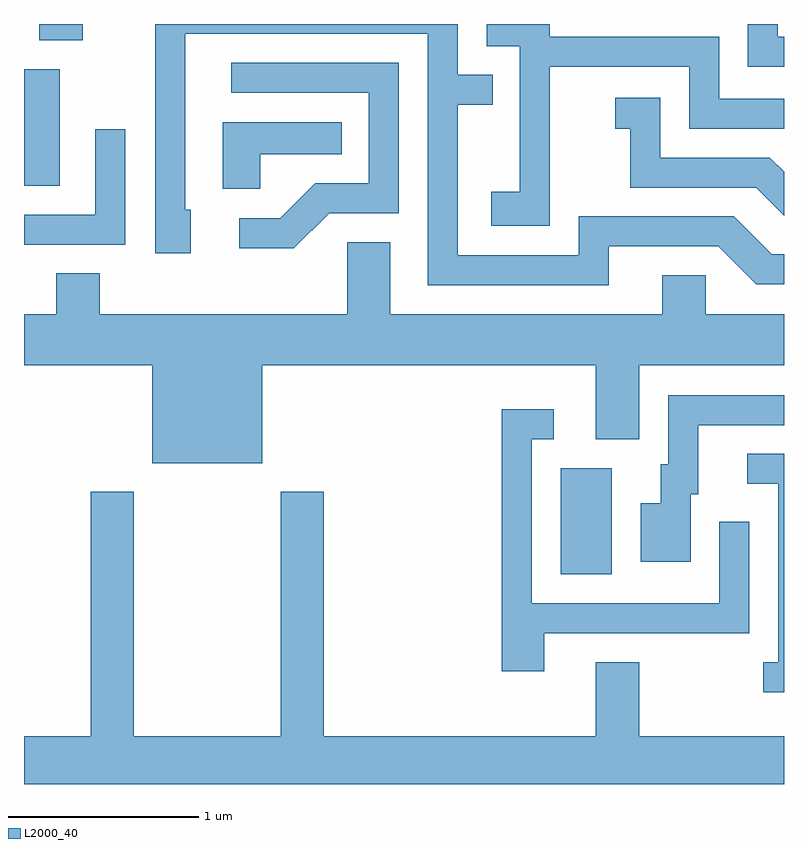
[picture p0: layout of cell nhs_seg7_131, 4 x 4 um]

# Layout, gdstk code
import gdstk
lib = gdstk.Library(unit=1e-6, precision=1e-09)
def R(c, l, rs):  # rectangles x0, y0, x1, y1
    for r in rs: c.add(gdstk.rectangle(r[:2], r[2:], *l))
def P(c, l, *ps):  # polygons
    for p in ps: c.add(gdstk.Polygon(p, *l))
L2000_40 = (2000, 40)

nhs_seg7_131 = lib.new_cell('nhs_seg7_131')
R(nhs_seg7_131, L2000_40, [(190.436,1795.356,190.704,1795.914), (187.611,1797.401,187.799,1798.014), (187.691,1798.166,187.919,1798.252)])
P(nhs_seg7_131, L2000_40, [(190.379,1798.026),(191.111,1798.026),(191.111,1797.701),(191.611,1797.701),(191.611,1797.859),(191.269,1797.859),(191.269,1798.184),(190.379,1798.184),(190.379,1798.252),(190.046,1798.252),(190.046,1798.136),(190.221,1798.136),(190.221,1797.369),(190.071,1797.369),(190.071,1797.191),(190.379,1797.191)],
  [(190.689,1797.081),(191.264,1797.081),(191.464,1796.881),(191.611,1796.881),(191.611,1797.039),(191.547,1797.039),(191.347,1797.239),(190.531,1797.239),(190.531,1797.034),(189.894,1797.034),(189.894,1797.826),(190.078,1797.826),(190.078,1797.984),(189.894,1797.984),(189.894,1798.252),(188.301,1798.252),(188.301,1797.046),(188.489,1797.046),(188.489,1797.274),(188.459,1797.274),(188.459,1798.201),(189.736,1798.201),(189.736,1796.876),(190.689,1796.876)],
  [(191.611,1798.184),(191.579,1798.184),(191.579,1798.252),(191.421,1798.252),(191.421,1798.026),(191.611,1798.026)],
  [(189.217,1797.256),(189.584,1797.256),(189.584,1798.049),(188.703,1798.049),(188.703,1797.891),(189.426,1797.891),(189.426,1797.414),(189.144,1797.414),(188.959,1797.229),(188.743,1797.229),(188.743,1797.071),(189.032,1797.071)],
  [(191.611,1797.475),(191.537,1797.549),(190.959,1797.549),(190.959,1797.864),(190.723,1797.864),(190.723,1797.701),(190.801,1797.701),(190.801,1797.391),(191.464,1797.391),(191.611,1797.244)],
  [(188.854,1797.566),(189.283,1797.566),(189.283,1797.734),(188.656,1797.734),(188.656,1797.386),(188.854,1797.386)],
  [(188.144,1797.698),(187.986,1797.698),(187.986,1797.249),(187.611,1797.249),(187.611,1797.091),(188.144,1797.091)],
  [(188.864,1796.456),(190.621,1796.456),(190.621,1796.066),(190.849,1796.066),(190.849,1796.456),(191.611,1796.456),(191.611,1796.724),(191.199,1796.724),(191.199,1796.929),(190.971,1796.929),(190.971,1796.724),(189.539,1796.724),(189.539,1797.104),(189.311,1797.104),(189.311,1796.724),(188.009,1796.724),(188.009,1796.939),(187.781,1796.939),(187.781,1796.724),(187.611,1796.724),(187.611,1796.456),(188.286,1796.456),(188.286,1795.941),(188.864,1795.941)],
  [(191.119,1795.776),(191.159,1795.776),(191.159,1796.141),(191.611,1796.141),(191.611,1796.299),(191.001,1796.299),(191.001,1795.934),(190.961,1795.934),(190.961,1795.729),(190.856,1795.729),(190.856,1795.421),(191.119,1795.421)],
  [(190.349,1795.046),(191.429,1795.046),(191.429,1795.633),(191.271,1795.633),(191.271,1795.204),(190.284,1795.204),(190.284,1796.066),(190.398,1796.066),(190.398,1796.224),(190.126,1796.224),(190.126,1794.846),(190.349,1794.846)],
  [(191.611,1795.989),(191.418,1795.989),(191.418,1795.831),(191.581,1795.831),(191.581,1794.894),(191.503,1794.894),(191.503,1794.736),(191.611,1794.736)],
  [(191.611,1794.504),(190.849,1794.504),(190.849,1794.894),(190.621,1794.894),(190.621,1794.504),(189.189,1794.504),(189.189,1795.789),(188.961,1795.789),(188.961,1794.504),(188.189,1794.504),(188.189,1795.789),(187.961,1795.789),(187.961,1794.504),(187.611,1794.504),(187.611,1794.252),(191.611,1794.252)])

lib.write_gds('nhs_seg7_131.gds')
